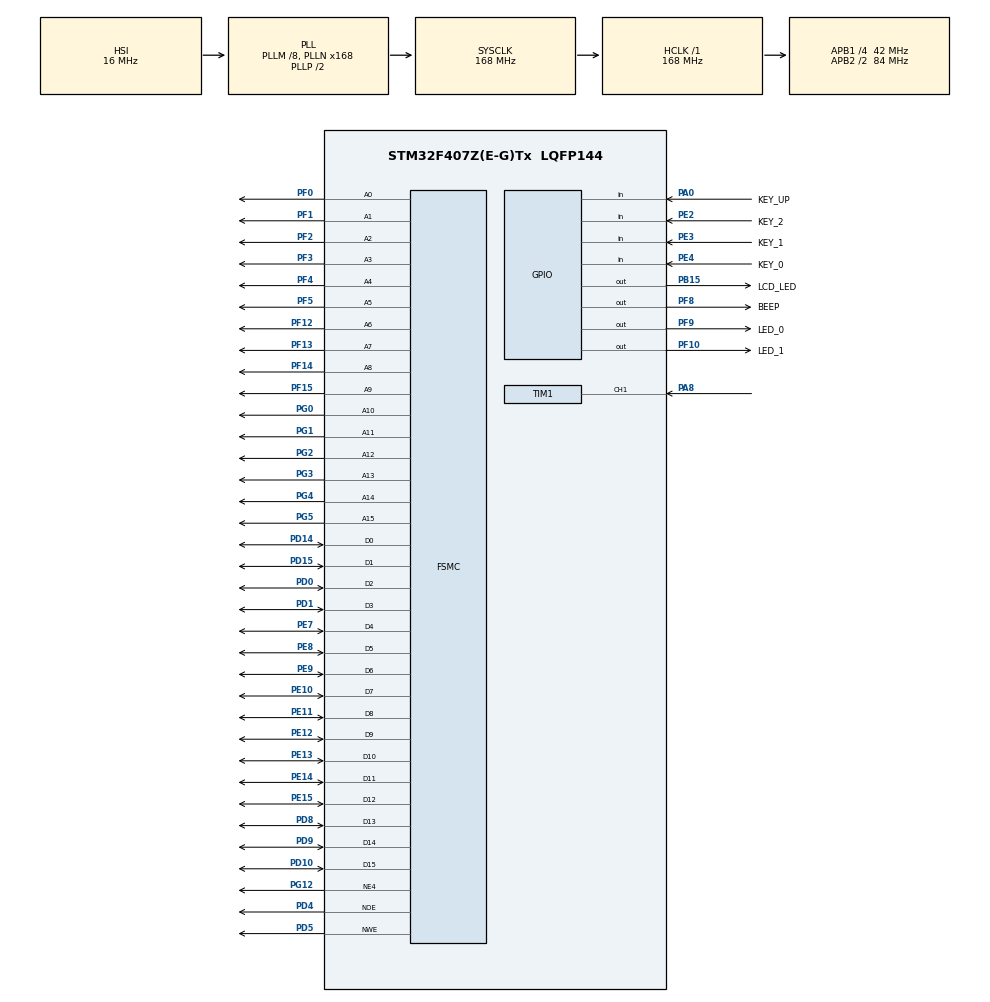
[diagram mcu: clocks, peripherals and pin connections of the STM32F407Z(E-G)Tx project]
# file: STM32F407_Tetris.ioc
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FSMC.BusTurnAroundDuration1=0
FSMC.DataSetupTime1=60
FSMC.ExtendedAddressSetupTime1=3
FSMC.ExtendedDataSetupTime1=3
FSMC.ExtendedMode1=FSMC_EXTENDED_MODE_ENABLE
FSMC.WriteOperation1=FSMC_WRITE_OPERATION_ENABLE
Mcu.Family=STM32F4
Mcu.Name=STM32F407Z(E-G)Tx
Mcu.Package=LQFP144
NVIC.PriorityGroup=NVIC_PRIORITYGROUP_4
NVIC.TIM1_CC_IRQn=true\:1\:0\:true\:false\:true\:true\:true\:true
NVIC.TIM1_UP_TIM10_IRQn=true\:1\:0\:true\:false\:true\:true\:true\:true
NVIC.TIM3_IRQn=true\:0\:0\:false\:false\:true\:true\:true\:true
PA0-WKUP.GPIO_Label=KEY_UP
PA0-WKUP.GPIO_PuPd=GPIO_PULLDOWN
PA0-WKUP.Signal=GPIO_Input
PA13.Mode=Serial_Wire
PA13.Signal=SYS_JTMS-SWDIO
PA14.Mode=Serial_Wire
PA14.Signal=SYS_JTCK-SWCLK
PA8.Signal=S_TIM1_CH1
PB15.GPIO_Label=LCD_LED
PB15.PinState=GPIO_PIN_SET
PB15.Signal=GPIO_Output
PD0.Signal=FSMC_D2_DA2
PD1.Signal=FSMC_D3_DA3
PD10.Signal=FSMC_D15_DA15
PD14.Signal=FSMC_D0_DA0
PD15.Signal=FSMC_D1_DA1
PD4.Signal=FSMC_NOE
PD5.Signal=FSMC_NWE
PD8.Signal=FSMC_D13_DA13
PD9.Signal=FSMC_D14_DA14
PE10.Signal=FSMC_D7_DA7
PE11.Signal=FSMC_D8_DA8
PE12.Signal=FSMC_D9_DA9
PE13.Signal=FSMC_D10_DA10
PE14.Signal=FSMC_D11_DA11
PE15.Signal=FSMC_D12_DA12
PE2.GPIO_Label=KEY_2
PE2.GPIO_PuPd=GPIO_PULLUP
PE2.Signal=GPIO_Input
PE3.GPIO_Label=KEY_1
PE3.GPIO_PuPd=GPIO_PULLUP
PE3.Signal=GPIO_Input
PE4.GPIO_Label=KEY_0
PE4.GPIO_PuPd=GPIO_PULLUP
PE4.Signal=GPIO_Input
PE7.Signal=FSMC_D4_DA4
PE8.Signal=FSMC_D5_DA5
PE9.Signal=FSMC_D6_DA6
PF0.Signal=FSMC_A0
PF1.Signal=FSMC_A1
PF10.GPIO_Label=LED_1
PF10.Signal=GPIO_Output
PF12.Signal=FSMC_A6
PF13.Signal=FSMC_A7
PF14.Signal=FSMC_A8
PF15.Signal=FSMC_A9
PF2.Signal=FSMC_A2
PF3.Signal=FSMC_A3
PF4.Signal=FSMC_A4
PF5.Signal=FSMC_A5
PF8.GPIO_Label=BEEP
PF8.Signal=GPIO_Output
PF9.GPIO_Label=LED_0
PF9.Signal=GPIO_Output
PG0.Signal=FSMC_A10
PG1.Signal=FSMC_A11
PG12.Mode=NorPsramChipSelect4_1
PG12.Signal=FSMC_NE4
PG2.Signal=FSMC_A12
PG3.Signal=FSMC_A13
PG4.Signal=FSMC_A14
PG5.Signal=FSMC_A15
PH0-OSC_IN.Mode=HSE-External-Oscillator
PH0-OSC_IN.Signal=RCC_OSC_IN
PH1-OSC_OUT.Mode=HSE-External-Oscillator
PH1-OSC_OUT.Signal=RCC_OSC_OUT
ProjectManager.HeapSize=0x200
ProjectManager.StackSize=0x400
ProjectManager.TargetToolchain=CMake
RCC.48MHZClocksFreq_Value=84000000
RCC.AHBFreq_Value=168000000
RCC.APB1CLKDivider=RCC_HCLK_DIV4
RCC.APB1Freq_Value=42000000
RCC.APB1TimFreq_Value=84000000
RCC.APB2CLKDivider=RCC_HCLK_DIV2
RCC.APB2Freq_Value=84000000
RCC.APB2TimFreq_Value=168000000
RCC.CortexFreq_Value=168000000
RCC.HCLKFreq_Value=168000000
RCC.HSE_VALUE=25000000
RCC.HSI_VALUE=16000000
RCC.LSE_VALUE=32768
RCC.PLLM=8
RCC.PLLN=168
RCC.SYSCLKFreq_VALUE=168000000
RCC.SYSCLKSource=RCC_SYSCLKSOURCE_PLLCLK
RCC.VCOOutputFreq_Value=336000000
SH.FSMC_A0.0=FSMC_A0,16b-a1
SH.FSMC_A1.0=FSMC_A1,16b-a1
SH.FSMC_A10.0=FSMC_A10,16b-a1
SH.FSMC_A11.0=FSMC_A11,16b-a1
SH.FSMC_A12.0=FSMC_A12,16b-a1
SH.FSMC_A13.0=FSMC_A13,16b-a1
SH.FSMC_A14.0=FSMC_A14,16b-a1
SH.FSMC_A15.0=FSMC_A15,16b-a1
SH.FSMC_A2.0=FSMC_A2,16b-a1
SH.FSMC_A3.0=FSMC_A3,16b-a1
SH.FSMC_A4.0=FSMC_A4,16b-a1
SH.FSMC_A5.0=FSMC_A5,16b-a1
SH.FSMC_A6.0=FSMC_A6,16b-a1
SH.FSMC_A7.0=FSMC_A7,16b-a1
SH.FSMC_A8.0=FSMC_A8,16b-a1
SH.FSMC_A9.0=FSMC_A9,16b-a1
SH.FSMC_D0_DA0.0=FSMC_D0,16b-d1
SH.FSMC_D10_DA10.0=FSMC_D10,16b-d1
SH.FSMC_D11_DA11.0=FSMC_D11,16b-d1
SH.FSMC_D12_DA12.0=FSMC_D12,16b-d1
SH.FSMC_D13_DA13.0=FSMC_D13,16b-d1
SH.FSMC_D14_DA14.0=FSMC_D14,16b-d1
SH.FSMC_D15_DA15.0=FSMC_D15,16b-d1
SH.FSMC_D1_DA1.0=FSMC_D1,16b-d1
SH.FSMC_D2_DA2.0=FSMC_D2,16b-d1
SH.FSMC_D3_DA3.0=FSMC_D3,16b-d1
SH.FSMC_D4_DA4.0=FSMC_D4,16b-d1
SH.FSMC_D5_DA5.0=FSMC_D5,16b-d1
SH.FSMC_D6_DA6.0=FSMC_D6,16b-d1
SH.FSMC_D7_DA7.0=FSMC_D7,16b-d1
SH.FSMC_D8_DA8.0=FSMC_D8,16b-d1
SH.FSMC_D9_DA9.0=FSMC_D9,16b-d1
SH.FSMC_NOE.0=FSMC_NOE,Sram1
SH.FSMC_NWE.0=FSMC_NWE,Sram1
SH.S_TIM1_CH1.0=TIM1_CH1,Input_Capture1_from_TI1
TIM1.Channel-Input_Capture1_from_TI1=TIM_CHANNEL_1
TIM1.Period=10000
TIM1.Prescaler=168-1
TIM3.Prescaler=83
VP_TIM1_VS_ClockSourceINT.Mode=Internal
VP_TIM3_VS_ClockSourceINT.Mode=Internal
board=custom

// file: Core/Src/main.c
/* USER CODE BEGIN Header */
/**
  ******************************************************************************
  * @file           : main.c
  * @brief          : STM32F407 Tetris 程序入口和应用模块调度。
  ******************************************************************************
  * @attention
  *
  * Copyright (c) 2026 STMicroelectronics.
  * All rights reserved.
  *
  * This software is licensed under terms that can be found in the LICENSE file
  * in the root directory of this software component.
  * If no LICENSE file comes with this software, it is provided AS-IS.
  *
  ******************************************************************************
  */
/* USER CODE END Header */
/* 头文件 --------------------------------------------------------------------*/
#include "main.h"
#include "tim.h"
#include "gpio.h"
#include "fsmc.h"

/* 私有头文件 ----------------------------------------------------------------*/
/* USER CODE BEGIN Includes */
#include "lcd.h"
#include "tetris.h"
#include "audio_bgm.h"
#include "app_settings.h"
#include "app_rtc.h"
#include "led_feedback.h"
#include "spi_flash.h"
/* USER CODE END Includes */

/* 私有类型定义 --------------------------------------------------------------*/

/* 私有宏定义 ----------------------------------------------------------------*/

/* 私有宏 --------------------------------------------------------------------*/

/* 私有变量 ------------------------------------------------------------------*/

/* 私有函数声明 --------------------------------------------------------------*/
void SystemClock_Config(void); /* 配置 HSI+PLL 系统时钟，供 HAL 和各外设使用。 */

/* 用户代码 ------------------------------------------------------------------*/

/**
  * @brief  主函数入口，完成 HAL、外设和应用模块初始化后进入轮询主循环。
  * @retval int 理论返回值；嵌入式主循环不会正常返回。
  */
int main(void)
{

  /* MCU 基础配置 ------------------------------------------------------------*/

  /* 复位外设并初始化 Flash 接口和 SysTick。 */
  HAL_Init();

  /* 配置系统时钟。 */
  SystemClock_Config();

  /* 初始化 CubeMX 配置的外设。 */
  MX_GPIO_Init();
  MX_FSMC_Init();
  MX_TIM3_Init();
  MX_TIM1_Init();
  /* USER CODE BEGIN 2 */
  HAL_TIM_Base_Start(&htim3); /* 启动 TIM3 基准计时，供相关外设/逻辑使用。 */
  /* PA8 红外接收头由 TIM1 输入捕获采样 NEC 波形。 */
  /* TIM1_CH1 用于红外 NEC 协议输入捕获，更新中断用于超时判定。 */
  HAL_TIM_IC_Start_IT(&htim1, TIM_CHANNEL_1);
  __HAL_TIM_ENABLE_IT(&htim1, TIM_IT_UPDATE);
  /* 项目功能模块初始化顺序：
   * LED/SPI FLASH/音频先准备硬件，RTC 提供时间，EEPROM 再读取设置。
   */
  Led_Feedback_Init();  /* 初始化 LED0/LED1 游戏状态反馈。 */
  SpiFlash_Init();      /* 初始化外部 SPI FLASH 软件 SPI 和芯片 ID。 */
  Audio_BGM_Init();     /* 初始化 ES8388、I2S2 和 DMA 循环播放缓冲。 */
  App_RTC_Init();       /* 初始化 RTC，为历史记录提供开局时间。 */
  App_Settings_Init();  /* 读取 EEPROM 中的最高分、音量和历史记录。 */
  Audio_BGM_SetVolume(App_Settings_Get()->bgm_volume); /* 应用 EEPROM 中保存的音量。 */
  /* Tetris 初始化会绘制开始菜单，并按 EEPROM 中的音量设置播放 BGM。 */
  tetris_init();
  /* USER CODE END 2 */

  /* 主循环。 */
  while (1)
  {

    /* USER CODE BEGIN 3 */
    /* 三个任务都设计为非阻塞轮询，避免影响按键响应和游戏下落节奏。 */
    Audio_BGM_Task();    /* BGM 预留任务入口，当前播放主要由 DMA 回调维护。 */
    Led_Feedback_Task(); /* 刷新 LED 非阻塞闪烁状态机。 */
    tetris_loop();       /* 执行 Tetris 菜单、游戏和结算状态机。 */
  }
  /* USER CODE END 3 */
}

/**
  * @brief 配置系统时钟为 HSI 经 PLL 倍频后的高速时钟。
  * @retval None
  */
void SystemClock_Config(void)
{
  RCC_OscInitTypeDef RCC_OscInitStruct = {0}; /* 振荡器和 PLL 配置结构体。 */
  RCC_ClkInitTypeDef RCC_ClkInitStruct = {0}; /* SYSCLK/HCLK/PCLK 总线分频配置结构体。 */

  /** 配置内部主稳压器输出电压。
  */
  __HAL_RCC_PWR_CLK_ENABLE();
  __HAL_PWR_VOLTAGESCALING_CONFIG(PWR_REGULATOR_VOLTAGE_SCALE1);

  /** 按 RCC_OscInitTypeDef 参数初始化 RCC 振荡器。
  */
  RCC_OscInitStruct.OscillatorType = RCC_OSCILLATORTYPE_HSI;
  RCC_OscInitStruct.HSIState = RCC_HSI_ON;
  RCC_OscInitStruct.HSICalibrationValue = RCC_HSICALIBRATION_DEFAULT;
  RCC_OscInitStruct.PLL.PLLState = RCC_PLL_ON;
  RCC_OscInitStruct.PLL.PLLSource = RCC_PLLSOURCE_HSI;
  RCC_OscInitStruct.PLL.PLLM = 8;
  RCC_OscInitStruct.PLL.PLLN = 168;
  RCC_OscInitStruct.PLL.PLLP = RCC_PLLP_DIV2;
  RCC_OscInitStruct.PLL.PLLQ = 4;
  if (HAL_RCC_OscConfig(&RCC_OscInitStruct) != HAL_OK)
  {
    Error_Handler();
  }

  /** 初始化 CPU、AHB 和 APB 总线时钟。
  */
  RCC_ClkInitStruct.ClockType = RCC_CLOCKTYPE_HCLK|RCC_CLOCKTYPE_SYSCLK
                              |RCC_CLOCKTYPE_PCLK1|RCC_CLOCKTYPE_PCLK2;
  RCC_ClkInitStruct.SYSCLKSource = RCC_SYSCLKSOURCE_PLLCLK;
  RCC_ClkInitStruct.AHBCLKDivider = RCC_SYSCLK_DIV1;
  RCC_ClkInitStruct.APB1CLKDivider = RCC_HCLK_DIV4;
  RCC_ClkInitStruct.APB2CLKDivider = RCC_HCLK_DIV2;

  if (HAL_RCC_ClockConfig(&RCC_ClkInitStruct, FLASH_LATENCY_5) != HAL_OK)
  {
    Error_Handler();
  }
}

/**
  * @brief  HAL 初始化或时钟配置失败时进入的错误处理函数。
  * @retval None
  */
void Error_Handler(void)
{
  /* USER CODE BEGIN Error_Handler_Debug */
  /* 发生 HAL 错误时停在这里，便于调试定位。 */
  __disable_irq();
  while (1)
  {
  }
  /* USER CODE END Error_Handler_Debug */
}
#ifdef USE_FULL_ASSERT
/**
  * @brief  Reports the name of the source file and the source line number
  *         where the assert_param error has occurred.
  * @param  file: pointer to the source file name
  * @param  line: assert_param error line source number
  * @retval None
  */
void assert_failed(uint8_t *file, uint32_t line)
{
  /* USER CODE BEGIN 6 */
  /* 断言失败时可在这里输出文件名和行号。 */
  /* USER CODE END 6 */
}
#endif /* USE_FULL_ASSERT */
